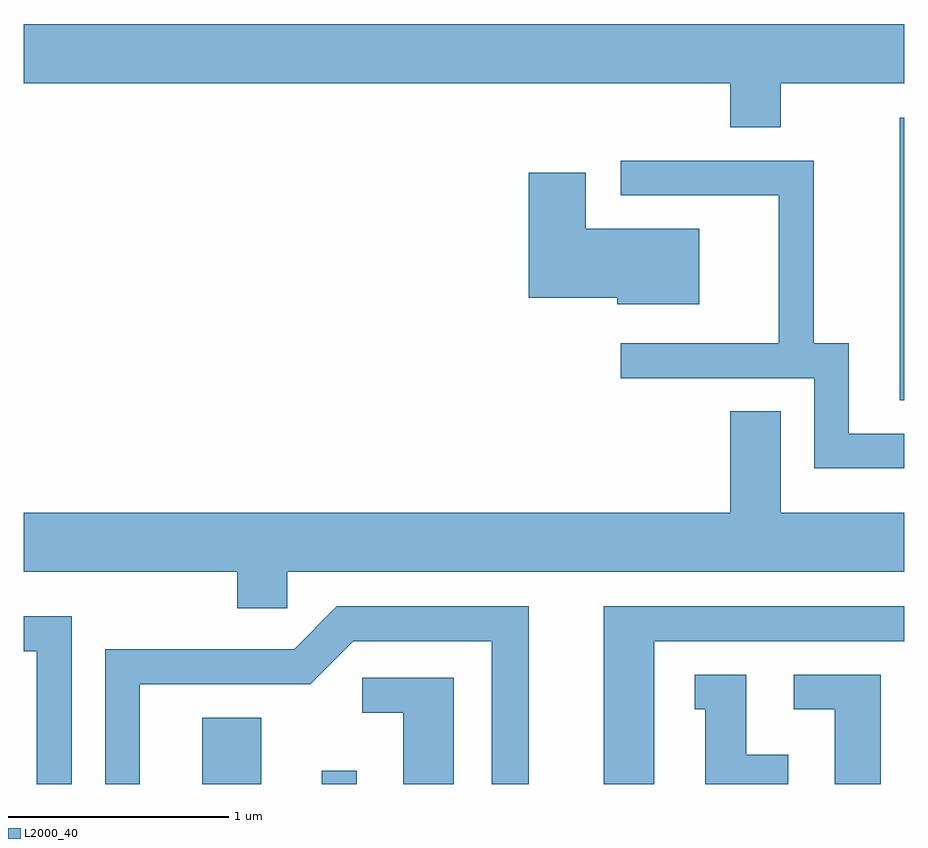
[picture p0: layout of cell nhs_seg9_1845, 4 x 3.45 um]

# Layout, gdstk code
import gdstk
lib = gdstk.Library(unit=1e-6, precision=1e-09)
def R(c, l, rs):  # rectangles x0, y0, x1, y1
    for r in rs: c.add(gdstk.rectangle(r[:2], r[2:], *l))
def P(c, l, *ps):  # polygons
    for p in ps: c.add(gdstk.Polygon(p, *l))
L2000_40 = (2000, 40)

nhs_seg9_1845 = lib.new_cell('nhs_seg9_1845')
R(nhs_seg9_1845, L2000_40, [(240.421,1966.432,240.689,1966.734), (240.966,1966.432,241.124,1966.493), (243.591,1968.176,243.611,1969.459)])
P(nhs_seg9_1845, L2000_40, [(243.049,1969.616),(243.611,1969.616),(243.611,1969.884),(239.611,1969.884),(239.611,1969.616),(242.821,1969.616),(242.821,1969.416),(243.049,1969.416)],
  [(243.611,1968.024),(243.359,1968.024),(243.359,1968.434),(243.199,1968.434),(243.199,1969.264),(242.323,1969.264),(242.323,1969.106),(243.041,1969.106),(243.041,1968.434),(242.323,1968.434),(242.323,1968.276),(243.201,1968.276),(243.201,1967.866),(243.611,1967.866)],
  [(242.679,1968.954),(242.164,1968.954),(242.164,1969.209),(241.906,1969.209),(241.906,1968.641),(242.306,1968.641),(242.306,1968.611),(242.679,1968.611)],
  [(240.809,1967.396),(243.611,1967.396),(243.611,1967.664),(243.049,1967.664),(243.049,1968.124),(242.821,1968.124),(242.821,1967.664),(239.611,1967.664),(239.611,1967.396),(240.581,1967.396),(240.581,1967.231),(240.809,1967.231)],
  [(242.474,1967.081),(243.611,1967.081),(243.611,1967.239),(242.246,1967.239),(242.246,1966.432),(242.474,1966.432)],
  [(240.139,1966.886),(240.912,1966.886),(241.107,1967.081),(241.736,1967.081),(241.736,1966.432),(241.904,1966.432),(241.904,1967.239),(241.034,1967.239),(240.839,1967.044),(239.981,1967.044),(239.981,1966.432),(240.139,1966.432)],
  [(239.829,1967.194),(239.611,1967.194),(239.611,1967.036),(239.671,1967.036),(239.671,1966.432),(239.829,1966.432)],
  [(243.504,1966.929),(243.108,1966.929),(243.108,1966.771),(243.296,1966.771),(243.296,1966.432),(243.504,1966.432)],
  [(243.084,1966.564),(242.894,1966.564),(242.894,1966.929),(242.658,1966.929),(242.658,1966.771),(242.706,1966.771),(242.706,1966.432),(243.084,1966.432)],
  [(241.564,1966.914),(241.148,1966.914),(241.148,1966.756),(241.336,1966.756),(241.336,1966.432),(241.564,1966.432)])

lib.write_gds('nhs_seg9_1845.gds')
